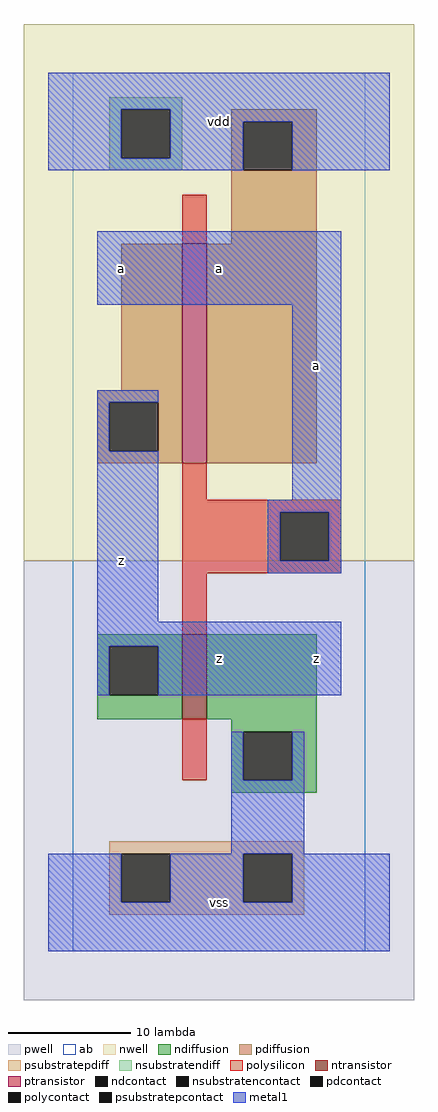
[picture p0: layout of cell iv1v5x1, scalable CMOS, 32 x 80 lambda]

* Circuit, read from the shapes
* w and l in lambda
.subckt iv1v5x1 a vdd vss z
M1 vss a z vss nfet w=7 l=2
M2 vdd a z vdd pfet w=18 l=2
.ends

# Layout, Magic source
magic
tech scmos
<< ab >>
rect 0 0 24 72
<< pwell >>
rect -4 -4 28 32
<< nwell >>
rect -4 32 28 76
<< polysilicon >>
rect 9 58 11 62
rect 9 37 11 40
rect 9 36 22 37
rect 9 32 17 36
rect 21 32 22 36
rect 9 31 22 32
rect 9 26 11 31
rect 9 14 11 19
<< ndiffusion >>
rect 2 25 9 26
rect 2 21 3 25
rect 7 21 9 25
rect 2 19 9 21
rect 11 19 20 26
rect 13 18 20 19
rect 13 14 14 18
rect 18 14 20 18
rect 13 13 20 14
<< pdiffusion >>
rect 13 68 20 69
rect 13 64 14 68
rect 18 64 20 68
rect 13 58 20 64
rect 4 46 9 58
rect 2 45 9 46
rect 2 41 3 45
rect 7 41 9 45
rect 2 40 9 41
rect 11 40 20 58
<< metal1 >>
rect -2 69 26 72
rect -2 65 4 69
rect 8 68 26 69
rect 8 65 14 68
rect -2 64 14 65
rect 18 64 26 68
rect 2 53 22 59
rect 2 45 7 46
rect 2 41 3 45
rect 2 27 7 41
rect 18 37 22 53
rect 16 36 22 37
rect 16 32 17 36
rect 21 32 22 36
rect 16 31 22 32
rect 2 25 22 27
rect 2 21 3 25
rect 7 21 22 25
rect 13 14 14 18
rect 18 14 19 18
rect 13 8 19 14
rect -2 4 4 8
rect 8 4 14 8
rect 18 4 26 8
rect -2 0 26 4
<< ntransistor >>
rect 9 19 11 26
<< ptransistor >>
rect 9 40 11 58
<< polycontact >>
rect 17 32 21 36
<< ndcontact >>
rect 3 21 7 25
rect 14 14 18 18
<< pdcontact >>
rect 14 64 18 68
rect 3 41 7 45
<< psubstratepcontact >>
rect 4 4 8 8
rect 14 4 18 8
<< nsubstratencontact >>
rect 4 65 8 69
<< psubstratepdiff >>
rect 3 8 19 9
rect 3 4 4 8
rect 8 4 14 8
rect 18 4 19 8
rect 3 3 19 4
<< nsubstratendiff >>
rect 3 69 9 70
rect 3 65 4 69
rect 8 65 9 69
rect 3 64 9 65
<< labels >>
rlabel metal1 4 32 4 32 6 z
rlabel metal1 4 56 4 56 6 a
rlabel metal1 12 4 12 4 6 vss
rlabel metal1 12 24 12 24 6 z
rlabel metal1 12 56 12 56 6 a
rlabel metal1 12 68 12 68 6 vdd
rlabel metal1 20 24 20 24 6 z
rlabel metal1 20 48 20 48 6 a
<< end >>
